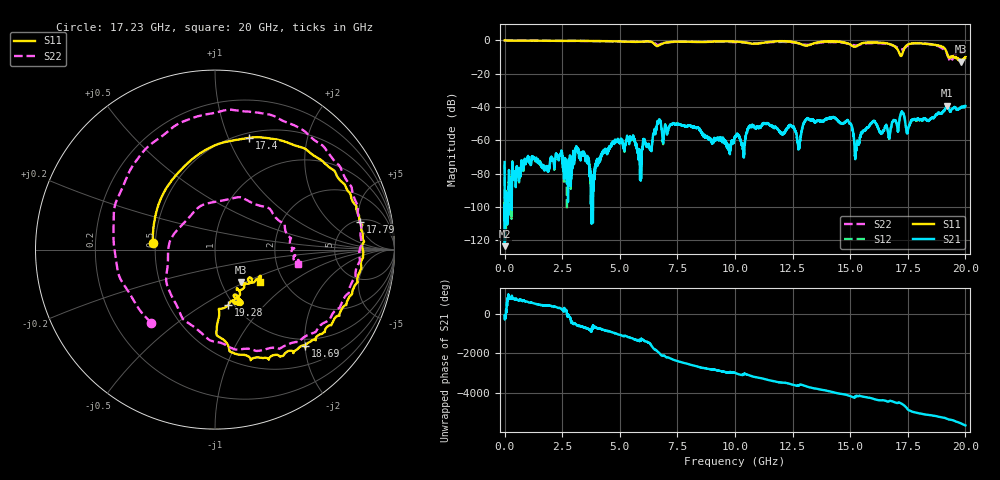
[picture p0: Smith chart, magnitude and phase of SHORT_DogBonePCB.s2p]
#  HZ  S  RI  R  50.00
! Rohde & Schwarz Vector Network Analyzer
! Rohde-Schwarz,ZNB20-2Port,1311601062101763,2.70
! Created: UTC 3/9/2022, 3:44:42 PM
! freq[Hz]  re:S11  im:S11  re:S21  im:S21  re:S12  im:S12  re:S22  im:S22
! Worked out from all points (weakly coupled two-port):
!   5000 points, 100 kHz to 20 GHz, reference 50 ohm
!   highest |S21| = -39.07 dB at 19.19 GHz (marker M1); lowest = -123.5 dB at 8.102 MHz (marker M2)
!   lowest |S11| = -12.6 dB at 19.8 GHz (marker M3), VSWR 1.61, Z = 61.9 - j23.9 ohm
!   |S11| at or under -10 dB: 19.27949 GHz to 19.34335 GHz (63.86 MHz wide, 0.331 % of centre); 19.54959 GHz to 19.58733 GHz (37.74 MHz wide, 0.193 % of centre); 19.6 GHz to 20 GHz (399.3 MHz wide, 2.02 % of centre) (the widest 3 of 5)
!   |S22| runs from -12.9 to 0.0 dB; largest |S21 - S12| = 0.00038
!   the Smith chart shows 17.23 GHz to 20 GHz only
!   S11 on the Smith chart (normalised r, x): 17.23 GHz: 0.48, +0.04; 17.4 GHz: 0.55, +1.20; 17.79 GHz: 5.31, +5.06; 18.69 GHz: 0.85, -2.00; 19.28 GHz: 0.95, -0.65; 20 GHz: 1.53, -0.60
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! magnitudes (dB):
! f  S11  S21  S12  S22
! 100 kHz  0.0  -73.0  -74.5  0.0
! 8.102 MHz  0.0  -123.5  -97.3  0.0
! 3.337 GHz  -0.2  -67.8  -68.1  -0.3
! 3.809 GHz  -0.3  -83.0  -92.8  -0.4
! 5.521 GHz  -0.8  -59.2  -59.2  -0.8
! 5.889 GHz  -0.8  -73.1  -74.4  -0.8
! 6.669 GHz  -3.2  -49.5  -49.3  -2.7
! 10 GHz  -0.6  -58.2  -58.3  -0.9
! 12.77 GHz  -1.8  -63.2  -63.3  -1.7
! 13.33 GHz  -2.2  -47.8  -47.7  -2.3
! 14.93 GHz  -2.0  -48.4  -48.7  -2.0
! 15.28 GHz  -3.5  -63.8  -63.0  -3.0
! 16.67 GHz  -2.0  -57.9  -57.9  -2.3
! 17.23 GHz  -9.2  -42.9  -42.8  -5.3
! 17.4 GHz  -3.7  -49.8  -49.6  -4.2
! 17.79 GHz  -1.7  -47.3  -47.3  -1.7
! 18.69 GHz  -2.7  -45.5  -45.6  -2.8
! 19.19 GHz  -7.3  -39.1  -39.2  -7.7
! 19.28 GHz  -10.0  -40.6  -40.6  -10.6
! 19.8 GHz  -12.6  -40.2  -40.1  -7.2
! 20 GHz  -10.2  -39.1  -39.2  -6.5
! 20 GHz  -9.9  -39.2  -39.2  -6.5
